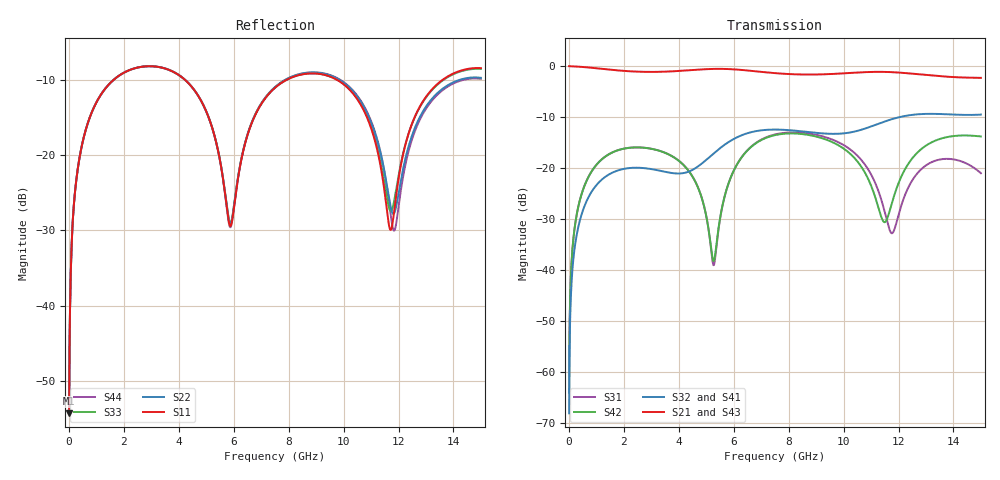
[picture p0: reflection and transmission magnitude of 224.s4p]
! Created with skrf 1.8.0 (http://scikit-rf.org).
# GHz S RI R 50.0
!freq ReS11 ImS11 ReS12 ImS12 ReS13 ImS13
! ReS14 ImS14
! ReS21 ImS21 ReS22 ImS22 ReS23 ImS23
! ReS24 ImS24
! ReS31 ImS31 ReS32 ImS32 ReS33 ImS33
! ReS34 ImS34
! ReS41 ImS41 ReS42 ImS42 ReS43 ImS43
! ReS44 ImS44
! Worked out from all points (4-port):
!   2499 points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, 5 MHz to 15 GHz, reference 50 ohm
!   strongest paths, dB at 5 MHz, 3.476 GHz, 7.19 GHz, 11.1 GHz, 15 GHz:
!     S21: 0.0, -1.1, -1.2, -1.1, -2.3
!     S43: 0.0, -1.1, -1.2, -1.1, -2.3
!     S32: -68.0, -20.7, -12.5, -11.6, -9.5
!     S41: -68.0, -20.7, -12.5, -11.7, -9.5
!     S42: -64.0, -16.9, -14.0, -24.8, -13.8
!     S31: -64.0, -16.9, -13.9, -22.3, -21.0
!   lowest |S11| = -54.3 dB at 5 MHz (marker M1), VSWR 1.00, Z = 50.2 + j0.116 ohm
!   |S11| at or under -10 dB: start of sweep to 1.61 GHz; 4.24 GHz to 7.898 GHz (3.658 GHz wide, 60.3 % of centre); 9.785 GHz to 13.59 GHz (3.802 GHz wide, 32.5 % of centre)
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0.005  0.00153 0.00116  0.9984 -0.00298  7.71e-05 0.000628  -7.48e-05 -0.00039
       0.9984 -0.00298  0.00153 0.00116  -7.48e-05 -0.00039  7.71e-05 0.000628
       7.71e-05 0.000628  -7.48e-05 -0.00039  0.00153 0.00116  0.9984 -0.00298
       -7.48e-05 -0.00039  7.71e-05 0.000628  0.9984 -0.00298  0.00153 0.00116
0.3626511  0.0268 0.0875  0.9631 -0.2135  0.013 0.0428  -0.0107 -0.0262
           0.9631 -0.2135  0.0268 0.0874  -0.0108 -0.0262  0.013 0.0428
           0.013 0.0428  -0.0108 -0.0262  0.0268 0.0875  0.9631 -0.2135
           -0.0107 -0.0262  0.013 0.0428  0.9631 -0.2135  0.0268 0.0875
1.619545  0.2607 0.1809  0.5683 -0.7183  0.1284 0.066  -0.0909 -0.0094
          0.5683 -0.7183  0.2608 0.1809  -0.091 -0.0093  0.1281 0.0664
          0.1284 0.066  -0.091 -0.0093  0.2606 0.181  0.5683 -0.7183
          -0.0909 -0.0094  0.1281 0.0664  0.5683 -0.7183  0.2608 0.1808
5.702376  0.0349 -0.0389  -0.9252 -0.1522  -0.00657 0.0567  -0.0266 0.1703
          -0.9252 -0.1522  0.0359 -0.0385  -0.0244 0.1705  -0.00884 0.0567
          -0.00657 0.0567  -0.0244 0.1705  0.0366 -0.0389  -0.9251 -0.1523
          -0.0266 0.1703  -0.00884 0.0567  -0.9251 -0.1523  0.0343 -0.0388
9.228845  0.3404 -0.0607  0.0383 0.8294  0.1775 -0.1031  0.1998 -0.0862
          0.0383 0.8294  0.3455 -0.0627  0.1997 -0.0904  0.1795 -0.0789
          0.1775 -0.1031  0.1997 -0.0904  0.3407 -0.0591  0.0383 0.829
          0.1998 -0.0862  0.1795 -0.0789  0.0383 0.829  0.3469 -0.0645
11.71113  0.0318 0.000837  0.8558 0.1752  -0.0235 0.00239  0.0556 -0.2942
          0.8558 0.1752  0.0411 -0.0197  0.0468 -0.2958  0.0385 0.0139
          -0.0235 0.00239  0.0468 -0.2958  0.0425 -0.00118  0.8556 0.1761
          0.0556 -0.2942  0.0385 0.0139  0.8556 0.1761  0.0324 -0.0247
15  0.3806 0.00769  0.0634 -0.7645  0.0532 -0.0718  -0.3348 -0.00425
    0.0634 -0.7645  0.3279 0.0131  -0.3351 0.00639  0.0668 -0.1933
    0.0532 -0.0718  -0.3351 0.00639  0.3758 -0.00435  0.0625 -0.7666
    -0.3348 -0.00425  0.0668 -0.1933  0.0625 -0.7666  0.322 0.0218
